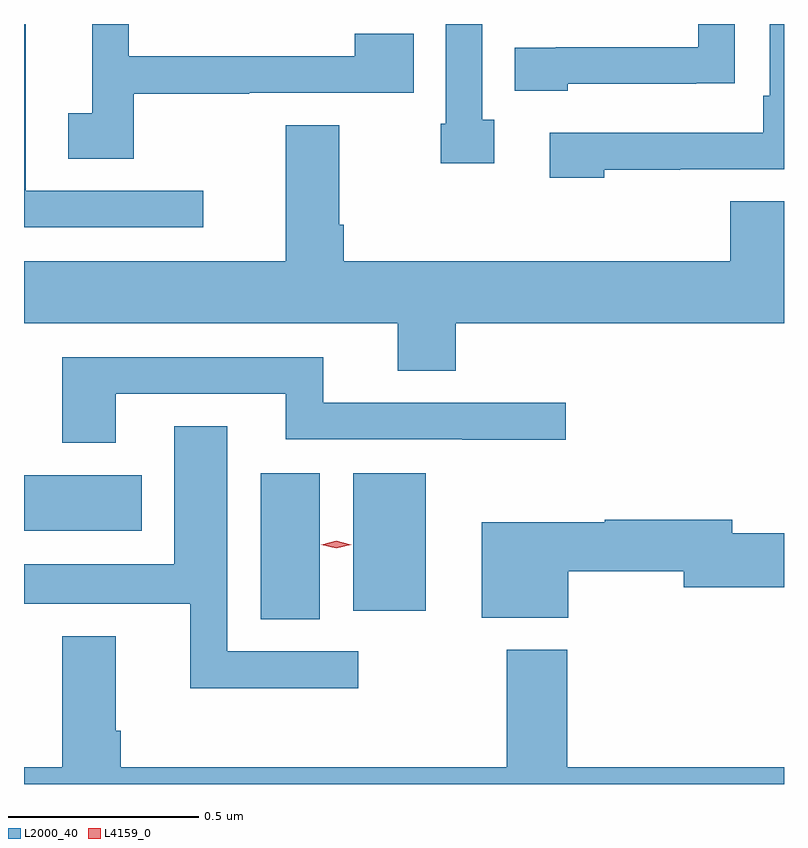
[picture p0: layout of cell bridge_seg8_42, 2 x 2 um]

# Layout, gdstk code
import gdstk
lib = gdstk.Library(unit=1e-6, precision=1e-09)
def R(c, l, rs):  # rectangles x0, y0, x1, y1
    for r in rs: c.add(gdstk.rectangle(r[:2], r[2:], *l))
def P(c, l, *ps):  # polygons
    for p in ps: c.add(gdstk.Polygon(p, *l))
L2000_40 = (2000, 40)
L4159_0 = (4159, 0)

bridge_seg8_42 = lib.new_cell('bridge_seg8_42')
R(bridge_seg8_42, L2000_40, [(887.285,1127.71,887.44,1128.094), (887.528,1127.732,887.719,1128.094), (886.662,1127.942,886.972,1128.088)])
P(bridge_seg8_42, L2000_40, [(887.134,1128.837),(886.666,1128.837),(886.666,1129.276),(886.662,1129.276),(886.662,1128.741),(887.134,1128.741)],
  [(887.899,1129.024),(887.868,1129.024),(887.868,1129.276),(887.772,1129.276),(887.772,1129.014),(887.759,1129.014),(887.759,1128.91),(887.899,1128.91)],
  [(886.951,1129.093),(887.255,1129.093),(887.255,1129.095),(887.687,1129.095),(887.687,1129.25),(887.533,1129.25),(887.533,1129.191),(886.938,1129.191),(886.938,1129.276),(886.842,1129.276),(886.842,1129.041),(886.779,1129.041),(886.779,1128.922),(886.951,1128.922)],
  [(888.189,1128.892),(888.389,1128.892),(888.389,1128.894),(888.662,1128.894),(888.662,1129.276),(888.624,1129.276),(888.624,1129.087),(888.607,1129.087),(888.607,1128.99),(888.045,1128.99),(888.045,1128.872),(888.189,1128.872)],
  [(888.093,1129.119),(888.431,1129.119),(888.431,1129.12),(888.533,1129.12),(888.533,1129.276),(888.436,1129.276),(888.436,1129.215),(888.061,1129.215),(888.061,1129.213),(887.953,1129.213),(887.953,1129.1),(888.093,1129.1)],
  [(887.798,1128.488),(888.662,1128.488),(888.662,1128.809),(888.521,1128.809),(888.521,1128.652),(887.504,1128.652),(887.504,1128.748),(887.491,1128.748),(887.491,1129.01),(887.351,1129.01),(887.351,1128.652),(886.662,1128.652),(886.662,1128.488),(887.645,1128.488),(887.645,1128.364),(887.798,1128.364)],
  [(886.903,1128.303),(887.351,1128.303),(887.351,1128.183),(887.815,1128.183),(887.815,1128.182),(888.088,1128.182),(888.088,1128.279),(887.45,1128.279),(887.45,1128.399),(886.763,1128.399),(886.763,1128.174),(886.903,1128.174)],
  [(887.542,1127.625),(887.197,1127.625),(887.197,1128.218),(887.057,1128.218),(887.057,1127.854),(886.662,1127.854),(886.662,1127.75),(887.099,1127.75),(887.099,1127.528),(887.542,1127.528)],
  [(888.094,1127.836),(888.398,1127.836),(888.398,1127.794),(888.662,1127.794),(888.662,1127.936),(888.526,1127.936),(888.526,1127.972),(888.19,1127.972),(888.19,1127.965),(887.867,1127.965),(887.867,1127.714),(888.094,1127.714)],
  [(888.662,1127.32),(888.092,1127.32),(888.092,1127.629),(887.932,1127.629),(887.932,1127.32),(886.916,1127.32),(886.916,1127.416),(886.903,1127.416),(886.903,1127.665),(886.763,1127.665),(886.763,1127.32),(886.662,1127.32),(886.662,1127.276),(888.662,1127.276)])
P(bridge_seg8_42, L4159_0, [(887.484,1127.896),(887.444,1127.905),(887.444,1127.905),(887.444,1127.906),(887.484,1127.916),(887.523,1127.906),(887.523,1127.906),(887.523,1127.906)])

lib.write_gds('bridge_seg8_42.gds')
